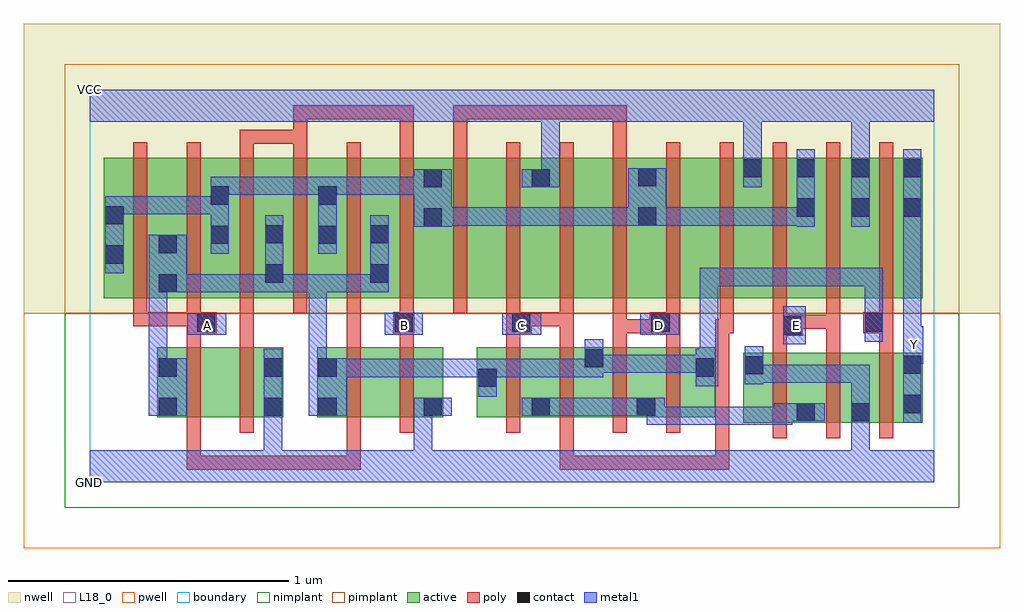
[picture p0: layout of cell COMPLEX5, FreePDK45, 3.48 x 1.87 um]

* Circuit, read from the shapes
.subckt COMPLEX5 A B C D E GND VCC Y
M1 n1 A n2 VSUBS nfet w=0.25u l=0.05u
M2 GND B n1 VSUBS nfet w=0.25u l=0.05u
M3 n3 A n2 VSUBS nfet w=0.25u l=0.05u
M4 GND B n3 VSUBS nfet w=0.25u l=0.05u
M5 n4 C n2 VSUBS nfet w=0.25u l=0.05u m=2
M6 n4 D n2 VSUBS nfet w=0.25u l=0.05u m=2
M7 n4 E GND VSUBS nfet w=0.25u l=0.05u m=2
M8 Y n2 GND VSUBS nfet w=0.25u l=0.05u
M9 n2 A n5 n6 pfet w=0.5u l=0.05u m=3
M10 n2 B n5 n6 pfet w=0.5u l=0.05u m=3
M11 n7 D n5 n6 pfet w=0.5u l=0.05u
M12 VCC C n7 n6 pfet w=0.5u l=0.05u
M13 n8 C VCC n6 pfet w=0.5u l=0.05u
M14 n5 D n8 n6 pfet w=0.5u l=0.05u
M15 n9 D n5 n6 pfet w=0.5u l=0.05u
M16 VCC C n9 n6 pfet w=0.5u l=0.05u
M17 n5 E VCC n6 pfet w=0.5u l=0.05u m=2
M18 Y n2 VCC n6 pfet w=0.5u l=0.05u
.ends

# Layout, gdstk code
import gdstk
lib = gdstk.Library(unit=1e-6, precision=1e-09)
def R(c, l, rs):  # rectangles x0, y0, x1, y1
    for r in rs: c.add(gdstk.rectangle(r[:2], r[2:], *l))
def A(c, l, x, y, w, h, nx, ny, dx, dy):  # array of equal rectangles
    R(c, l, [(x+i*dx, y+j*dy, x+i*dx+w, y+j*dy+h) for i in range(nx) for j in range(ny)])
active = (1, 0)
pwell = (2, 0)
nwell = (3, 0)
nimplant = (4, 0)
pimplant = (5, 0)
poly = (9, 0)
contact = (10, 0)
metal1 = (11, 0)
L18_0 = (18, 0)
boundary = (235, 0)

complex5 = lib.new_cell('COMPLEX5')
R(complex5, active, [(2.33,0.212,2.59,0.462), (2.515,0.212,2.59,0.342), (2.515,0.212,2.785,0.462), (2.71,0.212,2.97,0.462), (2.71,0.212,2.785,0.342), (2.895,0.212,2.97,0.462), (0.24,0.232,0.315,0.482), (0.24,0.232,0.465,0.482), (0.465,0.232,0.69,0.482), (0.615,0.232,0.69,0.482), (0.81,0.232,0.885,0.482), (0.81,0.232,1.035,0.482), (1.035,0.232,1.26,0.482), (1.185,0.232,1.26,0.482), (1.38,0.232,1.455,0.482), (1.38,0.232,1.645,0.482), (1.57,0.232,1.835,0.482), (1.57,0.232,1.645,0.342), (1.76,0.232,2.02,0.482), (1.945,0.232,2.23,0.482), (1.945,0.232,2.02,0.467), (1.76,0.297,1.835,0.48), (2.155,0.297,2.23,0.482), (2.33,0.297,2.405,0.462), (0.05,0.657,0.125,1.157), (0.05,0.657,0.315,1.157), (0.24,0.657,0.5,1.157), (0.24,0.657,0.315,1.07), (0.425,0.657,0.695,1.157), (0.62,0.657,0.885,1.157), (0.62,0.657,0.695,1.07), (0.81,0.657,0.885,1.157), (0.81,0.657,1.07,1.157), (0.995,0.657,1.26,1.157), (0.995,0.657,1.07,1.07), (1.185,0.657,1.26,1.157), (1.185,0.657,1.415,1.157), (1.415,0.657,1.645,1.157), (1.57,0.657,1.795,1.157), (1.795,0.657,2.025,1.157), (1.95,0.657,2.025,1.157), (1.95,0.657,2.175,1.157), (2.175,0.657,2.4,1.157), (2.325,0.657,2.59,1.157), (2.515,0.657,2.785,1.157), (2.71,0.657,2.785,1.157), (2.71,0.657,2.97,1.157), (2.895,0.657,2.97,1.157), (1.57,0.682,1.645,1.157), (0.425,0.697,0.5,1.157), (2.515,0.782,2.59,1.157), (2.325,0.807,2.4,1.157)])
R(complex5, pwell, [(-0.235,-0.235,3.245,0.602)])
R(complex5, nwell, [(-0.235,0.602,3.245,1.635)])
R(complex5, nimplant, [(-0.09,-0.09,3.1,0.602)])
R(complex5, pimplant, [(-0.09,0.602,3.1,1.49)])
A(complex5, poly, 2.435, 0.157, 0.05, 0.36, 3, 1, 0.19, 0)
A(complex5, poly, 1.485, 0.177, 0.05, 0.36, 4, 1, 0.19, 0)
A(complex5, poly, 1.105, 0.487, 0.05, 0.095, 3, 1, 0.38, 0)
A(complex5, poly, 0.155, 0.602, 0.05, 0.61, 15, 1, 0.19, 0)
R(complex5, poly, [(0.345,0.045,0.395,0.095), (0.345,0.045,0.395,0.095), (0.345,0.045,0.395,0.095), (0.345,0.045,0.585,0.095), (0.345,0.045,0.395,0.227), (0.535,0.045,0.585,0.095), (0.535,0.045,0.585,0.095), (0.535,0.045,0.585,0.095), (0.535,0.045,0.79,0.095), (0.74,0.045,0.79,0.095), (0.74,0.045,0.965,0.095), (0.915,0.045,0.965,0.095), (0.915,0.045,0.965,0.095), (0.915,0.045,0.965,0.095), (0.915,0.045,0.965,0.227), (1.675,0.045,1.725,0.095), (1.675,0.045,1.725,0.095), (1.675,0.045,1.725,0.095), (1.675,0.045,1.857,0.095), (1.675,0.045,1.725,0.227), (1.807,0.045,1.857,0.095), (1.807,0.045,2.147,0.095), (2.097,0.045,2.147,0.095), (2.097,0.045,2.147,0.095), (2.097,0.045,2.147,0.095), (2.097,0.045,2.28,0.095), (2.23,0.045,2.28,0.095), (2.23,0.045,2.28,0.095), (2.23,0.045,2.28,0.095), (2.23,0.045,2.28,0.095), (2.23,0.045,2.28,0.095), (2.23,0.045,2.28,0.582), (0.345,0.177,0.395,0.537), (0.535,0.177,0.585,0.537), (0.915,0.177,0.965,0.537), (1.105,0.177,1.155,0.537), (2.435,0.467,2.485,0.572), (2.625,0.467,2.675,0.597), (2.815,0.467,2.865,0.582), (0.345,0.487,0.395,0.582), (0.535,0.487,0.585,0.582), (0.915,0.487,0.965,0.607), (1.675,0.487,1.725,0.607), (2.055,0.487,2.105,0.582), (2.435,0.522,2.542,0.597), (0.345,0.532,0.452,0.607), (0.535,0.532,0.585,0.582), (0.535,0.532,0.585,0.652), (1.082,0.532,1.157,0.607), (1.485,0.532,1.575,0.607), (1.865,0.532,1.915,0.582), (1.865,0.532,1.915,0.652), (1.865,0.532,2.047,0.582), (1.997,0.532,2.105,0.607), (1.997,0.532,2.047,0.582), (1.997,0.532,2.047,0.582), (2.23,0.532,2.28,0.582), (2.23,0.532,2.28,0.582), (2.23,0.532,2.295,0.582), (2.245,0.532,2.295,0.652), (2.757,0.532,2.865,0.607), (2.435,0.547,2.485,0.652), (2.492,0.547,2.675,0.597), (2.625,0.547,2.675,0.652), (2.625,0.547,2.675,0.597), (2.625,0.547,2.675,0.597), (2.625,0.547,2.675,0.597), (0.155,0.557,0.205,0.652), (0.155,0.557,0.205,0.607), (0.155,0.557,0.205,0.607), (0.155,0.557,0.205,0.607), (0.155,0.557,0.395,0.607), (0.345,0.557,0.395,0.652), (0.915,0.557,0.965,0.652), (0.915,0.557,0.965,0.607), (1.105,0.557,1.155,0.652), (1.485,0.557,1.535,0.652), (1.525,0.557,1.575,0.607), (1.525,0.557,1.575,0.607), (1.525,0.557,1.725,0.607), (1.675,0.557,1.725,0.652), (1.675,0.557,1.725,0.607), (2.055,0.557,2.105,0.652), (2.815,0.557,2.865,0.652), (0.535,1.162,0.585,1.257), (0.725,1.162,0.775,1.257), (1.105,1.162,1.155,1.345), (1.295,1.162,1.345,1.345), (1.865,1.162,1.915,1.345), (0.535,1.207,0.585,1.257), (0.535,1.207,0.775,1.257), (0.725,1.207,0.775,1.257), (0.725,1.207,0.775,1.257), (0.725,1.207,0.775,1.345), (0.725,1.295,1,1.345), (0.95,1.295,1,1.345), (0.95,1.295,1,1.345), (0.95,1.295,1,1.345), (0.95,1.295,1.155,1.345), (1.105,1.295,1.155,1.345), (1.105,1.295,1.155,1.345), (1.105,1.295,1.155,1.345), (1.295,1.295,1.345,1.345), (1.295,1.295,1.345,1.345), (1.295,1.295,1.345,1.345), (1.295,1.295,1.592,1.345), (1.542,1.295,1.592,1.345), (1.542,1.295,1.592,1.345), (1.542,1.295,1.592,1.345), (1.542,1.295,1.725,1.345), (1.675,1.295,1.725,1.345), (1.675,1.295,1.725,1.345), (1.675,1.295,1.725,1.345), (1.675,1.295,1.915,1.345), (1.865,1.295,1.915,1.345)])
R(complex5, contact, [(2.52,0.217,2.585,0.282), (2.715,0.217,2.78,0.282), (0.245,0.237,0.31,0.302), (0.62,0.237,0.685,0.302), (0.815,0.237,0.88,0.302), (1.19,0.237,1.255,0.302), (1.575,0.237,1.64,0.302), (1.95,0.237,2.015,0.302), (2.9,0.247,2.965,0.312), (1.385,0.34,1.45,0.405), (0.245,0.377,0.31,0.442), (0.62,0.377,0.685,0.442), (0.815,0.377,0.88,0.442), (2.16,0.377,2.225,0.442), (2.335,0.385,2.4,0.45), (2.9,0.387,2.965,0.452), (1.765,0.41,1.83,0.475), (2.472,0.527,2.537,0.592), (0.382,0.537,0.447,0.602), (1.087,0.537,1.152,0.602), (1.505,0.537,1.57,0.602), (2.002,0.537,2.067,0.602), (2.762,0.537,2.827,0.602), (0.245,0.677,0.31,0.742), (0.625,0.712,0.69,0.777), (1,0.712,1.065,0.777), (0.055,0.78,0.12,0.845), (0.245,0.817,0.31,0.882), (0.43,0.85,0.495,0.915), (0.815,0.85,0.88,0.915), (0.625,0.852,0.69,0.917), (1,0.852,1.065,0.917), (1.19,0.912,1.255,0.977), (1.955,0.915,2.02,0.98), (0.055,0.92,0.12,0.985), (2.52,0.947,2.585,1.012), (2.715,0.947,2.78,1.012), (2.9,0.947,2.965,1.012), (0.43,0.99,0.495,1.055), (0.815,0.99,0.88,1.055), (1.19,1.052,1.255,1.117), (1.575,1.052,1.64,1.117), (1.955,1.055,2.02,1.12), (2.33,1.087,2.395,1.152), (2.52,1.087,2.585,1.152), (2.715,1.087,2.78,1.152), (2.9,1.087,2.965,1.152)])
R(complex5, metal1, [(0,0,3.01,0.115), (0.62,0.05,0.685,0.115), (0.62,0.05,0.685,0.115), (0.62,0.05,0.685,0.267), (1.155,0.05,1.22,0.115), (1.155,0.05,1.22,0.115), (1.155,0.05,1.22,0.302), (2.715,0.05,2.78,0.247), (2.715,0.182,2.78,0.247), (2.715,0.182,2.78,0.247), (2.715,0.182,2.78,0.247), (2.715,0.182,2.78,0.247), (2.715,0.182,2.78,0.317), (0.62,0.202,0.685,0.477), (0.62,0.202,0.685,0.267), (0.62,0.202,0.685,0.267), (1.985,0.205,2.24,0.27), (1.985,0.205,2.05,0.302), (2.175,0.205,2.24,0.27), (2.175,0.205,2.24,0.27), (2.175,0.205,2.24,0.27), (2.175,0.205,2.395,0.27), (2.33,0.205,2.395,0.27), (2.33,0.205,2.505,0.27), (2.44,0.205,2.505,0.282), (2.9,0.212,2.965,0.487), (2.44,0.217,2.55,0.282), (2.485,0.217,2.62,0.282), (0.21,0.237,0.345,0.442), (0.78,0.237,0.915,0.442), (1.155,0.237,1.22,0.302), (1.155,0.237,1.22,0.302), (1.155,0.237,1.29,0.302), (1.54,0.237,1.675,0.302), (1.61,0.237,1.675,0.302), (1.61,0.237,1.675,0.302), (1.61,0.237,1.83,0.302), (1.765,0.237,1.83,0.302), (1.765,0.237,1.83,0.302), (1.765,0.237,1.83,0.302), (1.765,0.237,1.98,0.302), (1.915,0.237,2.05,0.302), (1.985,0.237,2.05,0.302), (2.715,0.252,2.78,0.42), (1.385,0.305,1.45,0.44), (2.16,0.342,2.24,0.477), (2.335,0.35,2.4,0.485), (2.335,0.355,2.4,0.42), (2.335,0.355,2.4,0.42), (2.335,0.355,2.642,0.42), (2.577,0.355,2.642,0.42), (2.577,0.355,2.642,0.42), (2.577,0.355,2.642,0.42), (2.577,0.355,2.78,0.42), (2.715,0.355,2.78,0.42), (0.85,0.375,0.915,0.44), (0.85,0.375,0.915,0.44), (0.85,0.375,1.082,0.44), (1.017,0.375,1.082,0.44), (1.017,0.375,1.082,0.44), (1.017,0.375,1.082,0.44), (1.017,0.375,1.22,0.44), (1.155,0.375,1.22,0.44), (1.155,0.375,1.22,0.44), (1.155,0.375,1.22,0.44), (1.155,0.375,1.45,0.44), (1.385,0.375,1.45,0.44), (1.385,0.375,1.45,0.44), (1.385,0.375,1.692,0.44), (1.627,0.375,1.692,0.44), (1.627,0.375,1.692,0.44), (1.627,0.375,1.692,0.44), (1.627,0.375,1.83,0.44), (1.765,0.375,1.83,0.51), (0.21,0.377,0.275,0.442), (0.21,0.377,0.275,0.442), (0.21,0.377,0.275,0.742), (0.78,0.377,0.845,0.442), (0.78,0.377,0.845,0.442), (0.78,0.377,0.845,0.742), (1.765,0.39,1.83,0.455), (1.765,0.39,1.83,0.455), (1.765,0.39,2.087,0.455), (2.022,0.39,2.087,0.455), (2.022,0.39,2.087,0.455), (2.022,0.39,2.087,0.455), (2.022,0.39,2.225,0.455), (2.175,0.412,2.24,0.765), (2.9,0.422,2.965,0.487), (2.9,0.422,2.972,0.557), (2.472,0.492,2.552,0.627), (2.9,0.492,2.965,0.977), (2.762,0.502,2.827,0.637), (0.347,0.527,0.487,0.602), (1.052,0.527,1.187,0.605), (1.47,0.527,1.61,0.602), (1.962,0.527,2.102,0.602), (2.762,0.572,2.827,0.637), (2.762,0.572,2.827,0.637), (2.762,0.572,2.827,0.765), (0.21,0.677,0.345,0.882), (0.28,0.677,0.345,0.742), (0.28,0.677,0.345,0.742), (0.28,0.677,0.547,0.742), (0.482,0.677,0.547,0.742), (0.482,0.677,0.547,0.742), (0.482,0.677,0.547,0.742), (0.482,0.677,0.69,0.742), (0.625,0.677,0.69,0.952), (0.625,0.677,0.69,0.742), (0.625,0.677,0.69,0.742), (0.625,0.677,0.845,0.742), (0.78,0.677,0.845,0.742), (0.78,0.677,0.845,0.742), (0.78,0.677,0.845,0.742), (0.78,0.677,1.065,0.742), (1,0.677,1.065,0.952), (2.175,0.7,2.24,0.765), (2.175,0.7,2.24,0.765), (2.175,0.7,2.24,0.765), (2.175,0.7,2.24,0.765), (2.175,0.7,2.24,0.765), (2.175,0.7,2.377,0.765), (2.312,0.7,2.377,0.765), (2.312,0.7,2.377,0.765), (2.312,0.7,2.377,0.765), (2.312,0.7,2.537,0.765), (2.472,0.7,2.537,0.765), (2.472,0.7,2.642,0.765), (2.577,0.7,2.642,0.765), (2.577,0.7,2.827,0.765), (2.762,0.7,2.827,0.765), (0.055,0.745,0.12,1.02), (0.43,0.815,0.495,1.09), (0.815,0.815,0.88,1.09), (1.155,0.912,1.29,1.117), (2.52,0.912,2.585,1.187), (2.715,0.912,2.78,1.187), (2.9,0.912,2.965,1.187), (1.225,0.915,1.29,0.98), (1.225,0.915,1.29,0.98), (1.225,0.915,1.427,0.98), (1.362,0.915,1.427,0.98), (1.362,0.915,1.427,0.98), (1.362,0.915,1.427,0.98), (1.362,0.915,1.692,0.98), (1.627,0.915,1.692,0.98), (1.627,0.915,1.692,0.98), (1.627,0.915,1.692,0.98), (1.627,0.915,1.83,0.98), (1.765,0.915,1.83,0.98), (1.765,0.915,1.83,0.98), (1.765,0.915,1.83,0.98), (1.765,0.915,1.985,0.98), (1.92,0.915,2.055,1.12), (1.99,0.915,2.055,0.98), (1.99,0.915,2.055,0.98), (1.99,0.915,2.24,0.98), (2.175,0.915,2.24,0.98), (2.175,0.915,2.24,0.98), (2.175,0.915,2.24,0.98), (2.175,0.915,2.377,0.98), (2.312,0.915,2.377,0.98), (2.312,0.915,2.377,0.98), (2.312,0.915,2.377,0.98), (2.312,0.915,2.585,0.98), (0.055,0.955,0.12,1.02), (0.055,0.955,0.12,1.02), (0.055,0.955,0.257,1.02), (0.192,0.955,0.257,1.02), (0.192,0.955,0.257,1.02), (0.192,0.955,0.257,1.02), (0.192,0.955,0.495,1.02), (0.43,1.025,0.495,1.09), (0.43,1.025,0.495,1.09), (0.43,1.025,0.707,1.09), (0.642,1.025,0.707,1.09), (0.642,1.025,0.707,1.09), (0.642,1.025,0.707,1.09), (0.642,1.025,0.88,1.09), (0.815,1.025,0.88,1.09), (0.815,1.025,0.88,1.09), (0.815,1.025,1.082,1.09), (1.017,1.025,1.082,1.09), (1.017,1.025,1.082,1.09), (1.017,1.025,1.082,1.09), (1.017,1.025,1.22,1.09), (1.54,1.052,1.675,1.117), (1.61,1.052,1.675,1.117), (1.61,1.052,1.675,1.117), (1.61,1.052,1.675,1.35), (2.33,1.052,2.395,1.187), (2.33,1.122,2.395,1.35), (2.715,1.122,2.78,1.187), (2.715,1.122,2.78,1.187), (2.715,1.122,2.78,1.35), (0,1.285,3.01,1.4), (2.33,1.285,2.395,1.35), (2.33,1.285,2.395,1.35)])
A(complex5, L18_0, 1.507, 0.527, 0.065, 0.065, 3, 1, 0.49, 0)
R(complex5, L18_0, [(0,0,3.01,0.115), (0.62,0.05,0.685,0.115), (0.62,0.05,0.685,0.115), (0.62,0.05,0.685,0.267), (1.155,0.05,1.22,0.115), (1.155,0.05,1.22,0.115), (1.155,0.05,1.22,0.302), (2.715,0.05,2.78,0.247), (2.715,0.182,2.78,0.247), (2.715,0.182,2.78,0.247), (2.715,0.182,2.78,0.247), (2.715,0.182,2.78,0.247), (2.715,0.182,2.78,0.317), (0.62,0.202,0.685,0.267), (0.62,0.202,0.685,0.267), (0.62,0.202,0.685,0.477), (2.9,0.212,2.965,0.487), (1.155,0.237,1.22,0.302), (1.155,0.237,1.22,0.302), (1.155,0.237,1.29,0.302), (2.715,0.252,2.78,0.42), (2.335,0.35,2.4,0.485), (2.335,0.355,2.4,0.42), (2.335,0.355,2.4,0.42), (2.335,0.355,2.642,0.42), (2.577,0.355,2.642,0.42), (2.577,0.355,2.642,0.42), (2.577,0.355,2.642,0.42), (2.577,0.355,2.78,0.42), (2.715,0.355,2.78,0.42), (2.9,0.422,2.965,0.487), (2.9,0.422,2.972,0.557), (2.907,0.457,2.972,0.522), (2.472,0.492,2.552,0.627), (2.9,0.492,2.965,0.977), (0.347,0.527,0.487,0.602), (0.387,0.527,0.452,0.592), (1.052,0.527,1.187,0.605), (1.087,0.527,1.152,0.592), (1.47,0.527,1.61,0.602), (1.962,0.527,2.102,0.602), (2.715,0.912,2.78,1.187), (2.9,0.912,2.965,1.187), (1.54,1.052,1.675,1.117), (1.61,1.052,1.675,1.117), (1.61,1.052,1.675,1.117), (1.61,1.052,1.675,1.35), (2.33,1.052,2.395,1.187), (2.33,1.122,2.395,1.35), (2.715,1.122,2.78,1.187), (2.715,1.122,2.78,1.187), (2.715,1.122,2.78,1.35), (0,1.285,3.01,1.4), (2.33,1.285,2.395,1.35), (2.33,1.285,2.395,1.35)])
R(complex5, boundary, [(0,0,3.01,1.4)])
complex5.add(gdstk.Label('A', (0.42,0.56), layer=11, texttype=0))
complex5.add(gdstk.Label('B', (1.12,0.56), layer=11, texttype=0))
complex5.add(gdstk.Label('C', (1.54,0.56), layer=11, texttype=0))
complex5.add(gdstk.Label('D', (2.03,0.56), layer=11, texttype=0))
complex5.add(gdstk.Label('E', (2.52,0.56), layer=11, texttype=0))
complex5.add(gdstk.Label('Y', (2.94,0.49), layer=11, texttype=0))
complex5.add(gdstk.Label('VCC', (0,1.4), layer=11, texttype=0))
complex5.add(gdstk.Label('GND', (0,0), layer=11, texttype=0))

lib.write_gds('COMPLEX5.gds')
